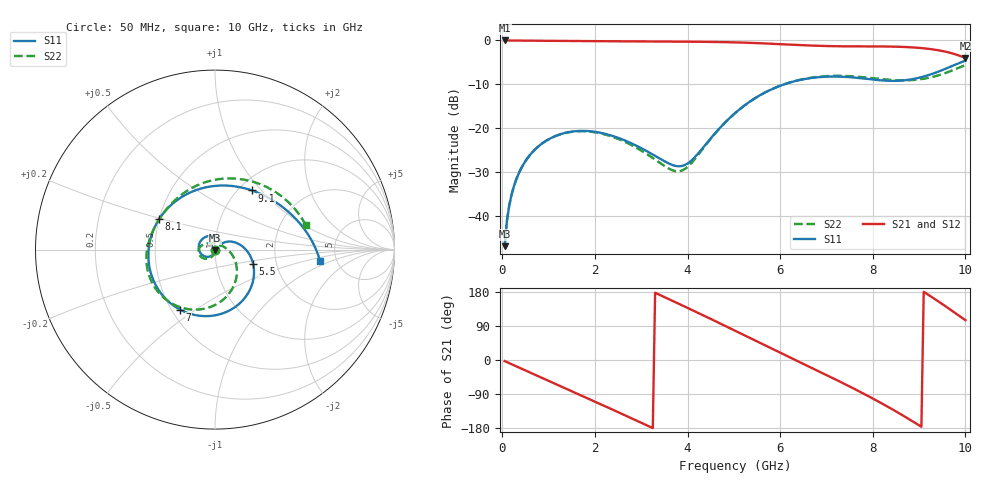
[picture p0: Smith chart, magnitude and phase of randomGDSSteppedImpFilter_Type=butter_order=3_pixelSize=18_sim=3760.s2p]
! freq	dB(S11)	phase(S11)	dB(S12)	phase(S12)
!  dB(S21)	phase(S21)	dB(S22)	phase(S22)
!S-par simulation data
#  GHz  S  DB  R 50
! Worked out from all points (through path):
!   200 points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, 50 MHz to 10 GHz, reference 50 ohm
!   highest |S21| = 0.00 dB at 50 MHz (marker M1); lowest = -4.0 dB at 10 GHz (marker M2)
!   group delay of S21, straight-line fit = 166 ps
!   lowest |S11| = -46.8 dB at 50 MHz (marker M3), VSWR 1.01, Z = 50 - j0.457 ohm
!   |S11| at or under -10 dB: start of sweep to 6.083 GHz
!   |S22| runs from -46.8 to -5.6 dB; largest |S21 - S12| = 0
!   S11 on the Smith chart (normalised r, x): 50 MHz: 1.00, -0.01; 5.5 GHz: 1.51, -0.26; 7 GHz: 0.55, -0.44; 8.1 GHz: 0.50, +0.19; 9.1 GHz: 1.15, +0.89; 10 GHz: 3.71, -0.75
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0.05  -46.80 -88.5  -0.00 -2.8  -0.00 -2.8  -46.78 -87.6
0.1  -41.00 -93.8  -0.01 -5.6  -0.01 -5.6  -40.99 -92.1
0.2  -35.09 -101.6  -0.02 -11.1  -0.02 -11.1  -35.08 -98.4
0.5  -27.45 -122.0  -0.05 -27.6  -0.05 -27.6  -27.44 -113.7
1.15  -21.72 -164.4  -0.11 -63.2  -0.11 -63.2  -21.74 -144.1
1.75  -20.57 155.3  -0.15 -96.1  -0.15 -96.1  -20.65 -170.2
2.65  -22.76 89.6  -0.19 -146.0  -0.19 -146.0  -23.08 155.3
3.4  -26.87 38.9  -0.24 171.8  -0.24 171.8  -27.83 120.2
3.85  -28.61 33.7  -0.27 146.2  -0.27 146.2  -29.69 69.6
4.3  -24.84 39.4  -0.31 120.1  -0.31 120.1  -25.06 12.8
5.05  -16.31 7.0  -0.45 75.9  -0.45 75.9  -16.33 -38.1
5.5  -12.87 -20.7  -0.60 49.0  -0.60 49.0  -12.88 -62.6
6.1  -9.94 -59.5  -0.90 13.4  -0.90 13.4  -9.92 -94.0
6.7  -8.51 -99.3  -1.18 -22.0  -1.18 -22.0  -8.42 -124.4
7  -8.25 -120.1  -1.27 -39.7  -1.27 -39.7  -8.11 -139.1
7.6  -8.45 -165.1  -1.35 -76.1  -1.35 -76.1  -8.19 -167.6
8.1  -9.00 151.6  -1.36 -108.2  -1.36 -108.2  -8.71 169.2
8.35  -9.18 127.8  -1.39 -125.1  -1.39 -125.1  -8.95 157.3
8.75  -8.98 89.2  -1.52 -153.6  -1.52 -153.6  -9.07 135.6
9.1  -8.21 58.0  -1.79 179.9  -1.79 179.9  -8.72 110.7
9.6  -6.33 20.4  -2.63 139.3  -2.63 139.3  -7.29 61.7
10  -4.59 -6.4  -3.99 105.1  -3.99 105.1  -5.61 15.2
